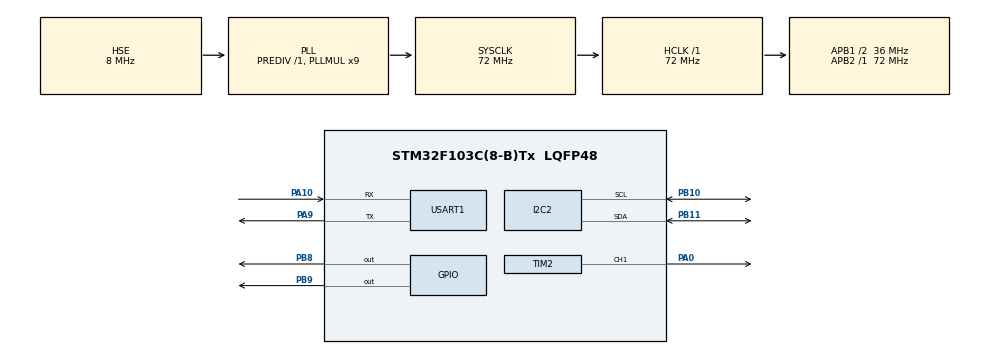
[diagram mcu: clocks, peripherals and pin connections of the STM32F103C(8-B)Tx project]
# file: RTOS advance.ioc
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Dma.Request0=USART1_RX
Dma.Request1=USART1_TX
Dma.USART1_RX.0.Direction=DMA_PERIPH_TO_MEMORY
Dma.USART1_RX.0.Instance=DMA1_Channel5
Dma.USART1_RX.0.MemDataAlignment=DMA_MDATAALIGN_BYTE
Dma.USART1_RX.0.MemInc=DMA_MINC_ENABLE
Dma.USART1_RX.0.Mode=DMA_NORMAL
Dma.USART1_RX.0.PeriphDataAlignment=DMA_PDATAALIGN_BYTE
Dma.USART1_RX.0.PeriphInc=DMA_PINC_DISABLE
Dma.USART1_RX.0.Priority=DMA_PRIORITY_HIGH
Dma.USART1_TX.1.Direction=DMA_MEMORY_TO_PERIPH
Dma.USART1_TX.1.Instance=DMA1_Channel4
Dma.USART1_TX.1.MemDataAlignment=DMA_MDATAALIGN_BYTE
Dma.USART1_TX.1.MemInc=DMA_MINC_ENABLE
Dma.USART1_TX.1.Mode=DMA_NORMAL
Dma.USART1_TX.1.PeriphDataAlignment=DMA_PDATAALIGN_BYTE
Dma.USART1_TX.1.PeriphInc=DMA_PINC_DISABLE
Dma.USART1_TX.1.Priority=DMA_PRIORITY_LOW
FREERTOS.Queues01=myQueue01,16,uint16_t,0,Dynamic,NULL,NULL
FREERTOS.Tasks01=defaultTask,24,128,StartDefaultTask,Default,NULL,Dynamic,NULL,NULL;myTask01,8,128,StartTask02,Default,NULL,Dynamic,NULL,NULL;myTask02,8,128,StartTask03,Default,NULL,Dynamic,NULL,NULL;myTask03,8,128,StartTask04,Default,NULL,Dynamic,NULL,NULL
Mcu.Family=STM32F1
Mcu.Name=STM32F103C(8-B)Tx
Mcu.Package=LQFP48
NVIC.DMA1_Channel4_IRQn=true\:5\:0\:false\:false\:true\:true\:false\:true\:true
NVIC.DMA1_Channel5_IRQn=true\:5\:0\:false\:false\:true\:true\:false\:true\:true
NVIC.PriorityGroup=NVIC_PRIORITYGROUP_4
NVIC.TIM4_IRQn=true\:15\:0\:false\:false\:true\:false\:false\:true\:true
NVIC.TimeBase=TIM4_IRQn
NVIC.TimeBaseIP=TIM4
NVIC.USART1_IRQn=true\:5\:0\:false\:false\:true\:true\:false\:true\:true
PA0-WKUP.Signal=S_TIM2_CH1_ETR
PA10.Mode=Asynchronous
PA10.Signal=USART1_RX
PA13.Mode=Serial_Wire
PA13.Signal=SYS_JTMS-SWDIO
PA14.Mode=Serial_Wire
PA14.Signal=SYS_JTCK-SWCLK
PA9.Mode=Asynchronous
PA9.Signal=USART1_TX
PB10.Mode=I2C
PB10.Signal=I2C2_SCL
PB11.Mode=I2C
PB11.Signal=I2C2_SDA
PB8.GPIO_ModeDefaultOutputPP=GPIO_MODE_OUTPUT_OD
PB8.GPIO_PuPd=GPIO_NOPULL
PB8.Signal=GPIO_Output
PB9.GPIO_ModeDefaultOutputPP=GPIO_MODE_OUTPUT_OD
PB9.GPIO_PuPd=GPIO_NOPULL
PB9.Signal=GPIO_Output
PD0-OSC_IN.Mode=HSE-External-Oscillator
PD0-OSC_IN.Signal=RCC_OSC_IN
PD1-OSC_OUT.Mode=HSE-External-Oscillator
PD1-OSC_OUT.Signal=RCC_OSC_OUT
ProjectManager.HeapSize=0x200
ProjectManager.StackSize=0x400
ProjectManager.TargetToolchain=MDK-ARM V5.32
RCC.AHBFreq_Value=72000000
RCC.APB1CLKDivider=RCC_HCLK_DIV2
RCC.APB1Freq_Value=36000000
RCC.APB1TimFreq_Value=72000000
RCC.APB2Freq_Value=72000000
RCC.APB2TimFreq_Value=72000000
RCC.HCLKFreq_Value=72000000
RCC.PLLMUL=RCC_PLL_MUL9
RCC.PLLSourceVirtual=RCC_PLLSOURCE_HSE
RCC.SYSCLKFreq_VALUE=72000000
RCC.SYSCLKSource=RCC_SYSCLKSOURCE_PLLCLK
RCC.USBFreq_Value=72000000
SH.S_TIM2_CH1_ETR.0=TIM2_CH1,PWM Generation1 CH1
TIM2.Channel-PWM\ Generation1\ CH1=TIM_CHANNEL_1
TIM2.Period=100-1
TIM2.Prescaler=720-1
USART1.VirtualMode=VM_ASYNC
VP_FREERTOS_VS_CMSIS_V2.Mode=CMSIS_V2
VP_SYS_VS_tim4.Mode=TIM4
VP_TIM2_VS_ClockSourceINT.Mode=Internal
board=custom

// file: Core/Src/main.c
/* USER CODE BEGIN Header */
/**
  ******************************************************************************
  * @file           : main.c
  * @brief          : Main program body
  ******************************************************************************
  * @attention
  *
  * Copyright (c) 2024 STMicroelectronics.
  * All rights reserved.
  *
  * This software is licensed under terms that can be found in the LICENSE file
  * in the root directory of this software component.
  * If no LICENSE file comes with this software, it is provided AS-IS.
  *
  ******************************************************************************
  */
/* USER CODE END Header */
#include "main.h"
#include "cmsis_os.h"
#include "dma.h"
#include "i2c.h"
#include "tim.h"
#include "usart.h"
#include "gpio.h"

/* USER CODE BEGIN Includes */
#include "OLED.h"

/* USER CODE END Includes */

void SystemClock_Config(void);
void MX_FREERTOS_Init(void);

int main(void)
{

  /* MCU Configuration--------------------------------------------------------*/

  /* Reset of all peripherals, Initializes the Flash interface and the Systick. */
  HAL_Init();

  /* Configure the system clock */
  SystemClock_Config();

  /* Initialize all configured peripherals */
  MX_GPIO_Init();
  MX_DMA_Init();
  MX_I2C2_Init();
  MX_USART1_UART_Init();
  MX_TIM2_Init();
  /* USER CODE BEGIN 2 */
  OLED_Init();
  HAL_TIM_PWM_Start(&htim2,TIM_CHANNEL_1);

  /* USER CODE END 2 */

  /* Init scheduler */
  osKernelInitialize();

  /* Call init function for freertos objects (in cmsis_os2.c) */
  MX_FREERTOS_Init();

  /* Start scheduler */
  osKernelStart();

  /* We should never get here as control is now taken by the scheduler */

  /* Infinite loop */
  while (1)
  {

  }
}

void SystemClock_Config(void)
{
  RCC_OscInitTypeDef RCC_OscInitStruct = {0};
  RCC_ClkInitTypeDef RCC_ClkInitStruct = {0};

  /** Initializes the RCC Oscillators according to the specified parameters
  * in the RCC_OscInitTypeDef structure.
  */
  RCC_OscInitStruct.OscillatorType = RCC_OSCILLATORTYPE_HSE;
  RCC_OscInitStruct.HSEState = RCC_HSE_ON;
  RCC_OscInitStruct.HSEPredivValue = RCC_HSE_PREDIV_DIV1;
  RCC_OscInitStruct.HSIState = RCC_HSI_ON;
  RCC_OscInitStruct.PLL.PLLState = RCC_PLL_ON;
  RCC_OscInitStruct.PLL.PLLSource = RCC_PLLSOURCE_HSE;
  RCC_OscInitStruct.PLL.PLLMUL = RCC_PLL_MUL9;
  if (HAL_RCC_OscConfig(&RCC_OscInitStruct) != HAL_OK)
  {
    Error_Handler();
  }

  /** Initializes the CPU, AHB and APB buses clocks
  */
  RCC_ClkInitStruct.ClockType = RCC_CLOCKTYPE_HCLK|RCC_CLOCKTYPE_SYSCLK
                              |RCC_CLOCKTYPE_PCLK1|RCC_CLOCKTYPE_PCLK2;
  RCC_ClkInitStruct.SYSCLKSource = RCC_SYSCLKSOURCE_PLLCLK;
  RCC_ClkInitStruct.AHBCLKDivider = RCC_SYSCLK_DIV1;
  RCC_ClkInitStruct.APB1CLKDivider = RCC_HCLK_DIV2;
  RCC_ClkInitStruct.APB2CLKDivider = RCC_HCLK_DIV1;

  if (HAL_RCC_ClockConfig(&RCC_ClkInitStruct, FLASH_LATENCY_2) != HAL_OK)
  {
    Error_Handler();
  }
}

void HAL_TIM_PeriodElapsedCallback(TIM_HandleTypeDef *htim)
{
  if (htim->Instance == TIM4) {
    HAL_IncTick();
  }
}

void Error_Handler(void)
{
  __disable_irq();
  while (1)
  {
  }
}

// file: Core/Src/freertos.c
/* USER CODE BEGIN Header */
/**
  ******************************************************************************
  * File Name          : freertos.c
  * Description        : Code for freertos applications
  ******************************************************************************
  * @attention
  *
  * Copyright (c) 2024 STMicroelectronics.
  * All rights reserved.
  *
  * This software is licensed under terms that can be found in the LICENSE file
  * in the root directory of this software component.
  * If no LICENSE file comes with this software, it is provided AS-IS.
  *
  ******************************************************************************
  */
/* USER CODE END Header */

#include "FreeRTOS.h"
#include "task.h"
#include "main.h"
#include "cmsis_os.h"

/* USER CODE BEGIN Includes */
#include "MPU6050.h"
#include "OLED.h"
#include "queue.h"
#include "tim.h"
#include "usart.h"

/* USER CODE END Includes */

/* Definitions for defaultTask */
osThreadId_t defaultTaskHandle;
const osThreadAttr_t defaultTask_attributes = {
  .name = "defaultTask",
  .stack_size = 128 * 4,
  .priority = (osPriority_t) osPriorityNormal,
};
/* Definitions for myTask01 */
osThreadId_t myTask01Handle;
const osThreadAttr_t myTask01_attributes = {
  .name = "myTask01",
  .stack_size = 128 * 4,
  .priority = (osPriority_t) osPriorityLow,
};
/* Definitions for myTask02 */
osThreadId_t myTask02Handle;
const osThreadAttr_t myTask02_attributes = {
  .name = "myTask02",
  .stack_size = 128 * 4,
  .priority = (osPriority_t) osPriorityLow,
};
/* Definitions for myTask03 */
osThreadId_t myTask03Handle;
const osThreadAttr_t myTask03_attributes = {
  .name = "myTask03",
  .stack_size = 128 * 4,
  .priority = (osPriority_t) osPriorityLow,
};
/* Definitions for myQueue01 */
osMessageQueueId_t myQueue01Handle;
const osMessageQueueAttr_t myQueue01_attributes = {
  .name = "myQueue01"
};

void StartDefaultTask(void *argument);
void StartTask02(void *argument);
void StartTask03(void *argument);
void StartTask04(void *argument);

void MX_FREERTOS_Init(void); /* (MISRA C 2004 rule 8.1) */

void MX_FREERTOS_Init(void) {

  /* Create the queue(s) */
  /* creation of myQueue01 */
  myQueue01Handle = osMessageQueueNew (16, sizeof(uint16_t), &myQueue01_attributes);

  /* Create the thread(s) */
  /* creation of defaultTask */
  defaultTaskHandle = osThreadNew(StartDefaultTask, NULL, &defaultTask_attributes);

  /* creation of myTask01 */
  myTask01Handle = osThreadNew(StartTask02, NULL, &myTask01_attributes);

  /* creation of myTask02 */
  myTask02Handle = osThreadNew(StartTask03, NULL, &myTask02_attributes);

  /* creation of myTask03 */
  myTask03Handle = osThreadNew(StartTask04, NULL, &myTask03_attributes);

}

void StartDefaultTask(void *argument)
{
  /* USER CODE BEGIN StartDefaultTask */

  /* Infinite loop */
  for(;;)
  {
       vTaskDelete(NULL);
  }
  /* USER CODE END StartDefaultTask */
}

void StartTask02(void *argument)
{
  /* USER CODE BEGIN StartTask02 */
     TickType_t xLastWakeTime;
    const TickType_t xFrequency = 10;
      xLastWakeTime = xTaskGetTickCount();
    HAL_UARTEx_ReceiveToIdle_DMA(&huart1, rx_buff, BUFF_SIZE);
  __HAL_DMA_DISABLE_IT(&hdma_usart1_rx, DMA_IT_HT);

    /* Infinite loop */
  for(;;)
  {

     vTaskDelayUntil( &xLastWakeTime, xFrequency );
  }
  /* USER CODE END StartTask02 */
}

void StartTask03(void *argument)
{
  /* USER CODE BEGIN StartTask03 */
    TickType_t xLastWakeTime;
    const TickType_t xFrequency = 10;
      xLastWakeTime = xTaskGetTickCount();
    BaseType_t xReturn;
    uint16_t temp;
  /* Infinite loop */
  for(;;)
  {
      xReturn=xQueueReceive(myQueue01Handle,&temp,1);
      if( temp == 1)
    {
          for(int i = 0;i < 100;i++)
        {
            __HAL_TIM_SET_COMPARE(&htim2,TIM_CHANNEL_1,i);
            vTaskDelay(1);
        }
        for(int i = 0;i < 100;i++)
        {
            __HAL_TIM_SET_COMPARE(&htim2,TIM_CHANNEL_1,100-i);
            vTaskDelay(1);
        }
    }
    else if(temp == 2)
    {
          for(int i = 0;i < 100;i++)
        {
            __HAL_TIM_SET_COMPARE(&htim2,TIM_CHANNEL_1,i);
            vTaskDelay(10);
        }
        for(int i = 0;i < 100;i++)
        {
            __HAL_TIM_SET_COMPARE(&htim2,TIM_CHANNEL_1,100-i);
            vTaskDelay(10);
        }
    }
    vTaskDelayUntil( &xLastWakeTime, xFrequency );
  }
  /* USER CODE END StartTask03 */
}

void StartTask04(void *argument)
{
  /* USER CODE BEGIN StartTask04 */
    TickType_t xLastWakeTime;
    const TickType_t xFrequency = 100;
      xLastWakeTime = xTaskGetTickCount();
    int res=1;
    float pitch;
    float roll;
    float yaw;
    int16_t gx,gy,gz,ax,ay,az;
    while(res)
    {
        res = MPU6050_DMP_Init();
        OLED_ShowString(1, 1, " ");
        OLED_ShowString(1, 1, "InitNG:");
        OLED_ShowSignedNum(1, 8,res,1);
        vTaskDelay(1000);
    }
    OLED_ShowString(1, 1, " ");
    OLED_ShowString(1, 1, "InitOK");
  /* Infinite loop */
  for(;;)
  {
      if(MPU6050_DMP_Get_Data(&pitch, &roll, &yaw,&gx,&gy,&gz,&ax,&ay,&az))
    {
        OLED_ShowSignedNum(2, 1,ax, 5);
        OLED_ShowSignedNum(3, 1, ay, 5);
        OLED_ShowSignedNum(4, 1, az, 5);
        OLED_ShowSignedNum(2, 8, gx, 5);
        OLED_ShowSignedNum(3, 8, gy, 5);
        OLED_ShowSignedNum(4, 8, gz, 5);
    }
    vTaskDelayUntil( &xLastWakeTime, xFrequency );
  }
  /* USER CODE END StartTask04 */
}
